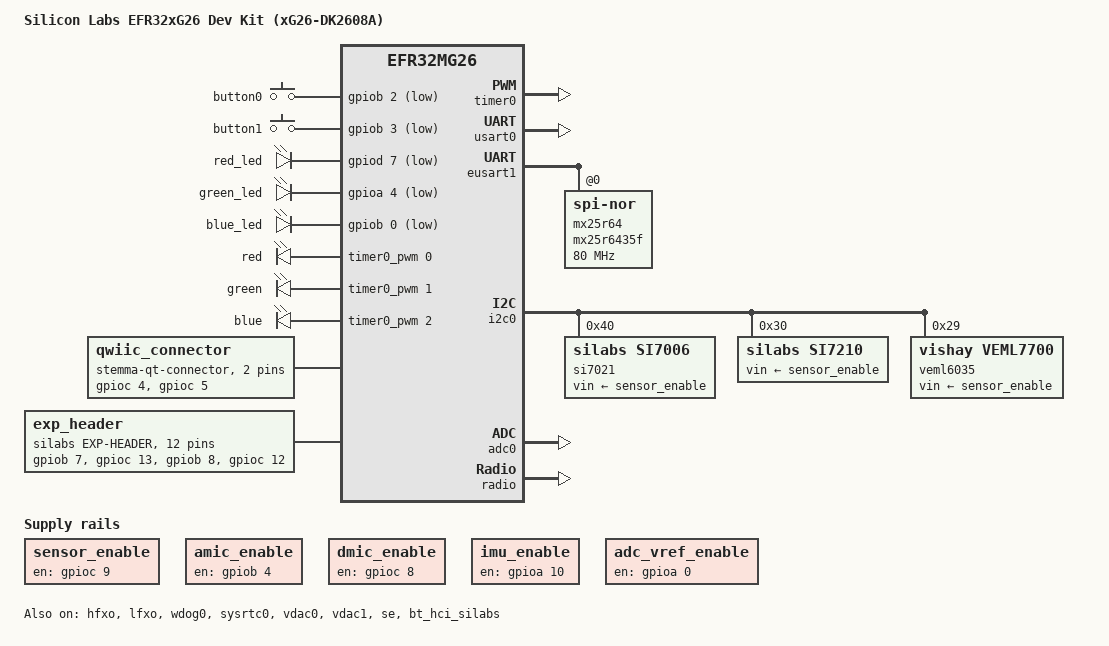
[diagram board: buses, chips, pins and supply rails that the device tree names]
/*
 * Copyright (c) 2026 Hong Nguyen
 *
 * SPDX-License-Identifier: Apache-2.0
 */

/dts-v1/;
#include <silabs/xg26/efr32mg26b510f3200im68.dtsi>
#include <silabs/xg26/clock-hfrcodpll.dtsi>
#include <silabs/xg26/clock-lfxo.dtsi>
#include <zephyr/dt-bindings/input/input-event-codes.h>
#include <zephyr/dt-bindings/pwm/pwm.h>
#include <zephyr/dt-bindings/regulator/silabs_dcdc.h>
#include "xg26_dk2608a-pinctrl.dtsi"

/ {
	model = "Silicon Labs EFR32xG26 Dev Kit (xG26-DK2608A)";
	compatible = "silabs,xg26_dk2608a", "silabs,efr32mg26";

	chosen {
		zephyr,bt-hci = &bt_hci_silabs;
		zephyr,code-partition = &slot0_partition;
		zephyr,console = &usart0;
		zephyr,flash = &flash0;
		zephyr,shell-uart = &usart0;
		zephyr,sram = &sram0;
		zephyr,uart-pipe = &usart0;
	};

	aliases {
		led0 = &red_led;
		led1 = &green_led;
		led2 = &blue_led;
		pwm-led0 = &red_pwm_led;
		pwm-led1 = &green_pwm_led;
		pwm-led2 = &blue_pwm_led;
		sw0 = &button0;
		sw1 = &button1;
		watchdog0 = &wdog0;
		dht0 = &si7021;
		light-sensor = &veml6035;
		magn0 = &si7210;
	};

	buttons {
		compatible = "gpio-keys";

		button0: button_0 {
			gpios = <&gpiob 2 GPIO_ACTIVE_LOW>;
			zephyr,code = <INPUT_KEY_0>;
		};

		button1: button_1 {
			gpios = <&gpiob 3 GPIO_ACTIVE_LOW>;
			zephyr,code = <INPUT_KEY_1>;
		};
	};

	leds {
		compatible = "gpio-leds";

		red_led: led_0 {
			gpios = <&gpiod 7 GPIO_ACTIVE_LOW>;
		};

		green_led: led_1 {
			gpios = <&gpioa 4 GPIO_ACTIVE_LOW>;
		};

		blue_led: led_2 {
			gpios = <&gpiob 0 GPIO_ACTIVE_LOW>;
		};
	};

	pwmleds {
		compatible = "pwm-leds";

		red_pwm_led: pwm_led_0 {
			pwms = <&timer0_pwm 0 PWM_MSEC(20) PWM_POLARITY_INVERTED>;
			label = "red";
		};

		green_pwm_led: pwm_led_1 {
			pwms = <&timer0_pwm 1 PWM_MSEC(20) PWM_POLARITY_INVERTED>;
			label = "green";
		};

		blue_pwm_led: pwm_led_2 {
			pwms = <&timer0_pwm 2 PWM_MSEC(20) PWM_POLARITY_INVERTED>;
			label = "blue";
		};
	};

	qwiic_connector: stemma-qt-connector {
		compatible = "stemma-qt-connector";
		#gpio-cells = <2>;
		gpio-map-mask = <0xffffffff 0>;
		gpio-map-pass-thru = <0 GPIO_DT_FLAGS_MASK>;
		gpio-map = <0 0 &gpioc 4 0>, /* SCL */
			   <1 0 &gpioc 5 0>; /* SDA */
	};

	sensor_enable: gpio_switch_0 {
		compatible = "regulator-fixed";
		regulator-boot-on;
		regulator-name = "sensor_enable";
		enable-gpios = <&gpioc 9 GPIO_ACTIVE_HIGH>;
	};

	amic_enable: gpio_switch_1 {
		compatible = "regulator-fixed";
		regulator-name = "amic_enable";
		enable-gpios = <&gpiob 4 GPIO_ACTIVE_HIGH>;
	};

	dmic_enable: gpio_switch_2 {
		compatible = "regulator-fixed";
		regulator-name = "dmic_enable";
		enable-gpios = <&gpioc 8 GPIO_ACTIVE_HIGH>;
	};

	imu_enable: gpio_switch_3 {
		compatible = "regulator-fixed";
		regulator-name = "imu_enable";
		enable-gpios = <&gpioa 10 GPIO_ACTIVE_HIGH>;
	};

	adc_vref_enable: gpio_switch_4 {
		compatible = "regulator-fixed";
		regulator-name = "adc_vref_enable";
		enable-gpios = <&gpioa 0 GPIO_ACTIVE_HIGH>;
	};

	exp_header: exp-header {
		compatible = "silabs,exp-header";
		#gpio-cells = <2>;
		gpio-map = <3 0 &gpiob 7 0>,
			   <4 0 &gpioc 13 0>,
			   <5 0 &gpiob 8 0>,
			   <6 0 &gpioc 12 0>,
			   <8 0 &gpioc 11 0>,
			   <10 0 &gpioc 10 0>,
			   <11 0 &gpiod 8 0>,
			   <12 0 &gpiob 5 0>,
			   <13 0 &gpiod 9 0>,
			   <14 0 &gpiob 6 0>,
			   <15 0 &gpioc 4 0>,
			   <16 0 &gpioc 5 0>;
		gpio-map-mask = <0xffffffff 0x0>;
		gpio-map-pass-thru = <0x0 GPIO_DT_FLAGS_MASK>;
	};
};

&timer0 {
	status = "okay";

	timer0_pwm: pwm {
		pinctrl-0 = <&timer0_default>;
		pinctrl-names = "default";
		status = "okay";
	};
};

&itm {
	pinctrl-0 = <&itm_default>;
	pinctrl-names = "default";
};

&dcdc {
	regulator-boot-on;
	regulator-initial-mode = <SILABS_DCDC_MODE_BUCK>;
	silabs,pfmx-peak-current-milliamp = <120>;
	status = "okay";
};

&hfxo {
	ctune = <140>;
	precision = <50>;
	status = "okay";
};

&lfxo {
	ctune = <63>;
	precision = <50>;
	status = "okay";
};

&usart0 {
	pinctrl-0 = <&usart0_default>;
	pinctrl-names = "default";
	status = "okay";
};

&usart1 {
	pinctrl-0 = <&usart1_default>;
	pinctrl-names = "default";
	status = "disabled";
};

&eusart1 {
	compatible = "silabs,eusart-spi";
	#address-cells = <1>;
	#size-cells = <0>;

	cs-gpios = <&gpioa 7 GPIO_ACTIVE_LOW>;
	pinctrl-0 = <&eusart1_default>;
	pinctrl-names = "default";
	status = "okay";

	mx25r64: mx25r6435f@0 {
		compatible = "jedec,spi-nor";
		reg = <0>;
		dpd-wakeup-sequence = <30000 20 35000>;
		has-dpd;
		jedec-id = [c2 28 17];
		size = <0x4000000>;
		spi-max-frequency = <80000000>;
	};
};

&i2c0 {
	pinctrl-0 = <&i2c0_default>;
	pinctrl-names = "default";
	status = "okay";

	si7021: si7021@40 {
		compatible = "silabs,si7006";
		reg = <0x40>;
		vin-supply = <&sensor_enable>;
	};

	si7210: si7210@30 {
		compatible = "silabs,si7210";
		reg = <0x30>;
		vin-supply = <&sensor_enable>;
	};

	veml6035: veml6035@29 {
		compatible = "vishay,veml7700";
		reg = <0x29>;
		vin-supply = <&sensor_enable>;
	};
};

&wdog0 {
	status = "okay";
};

&gpio {
	status = "okay";
};

&gpioa {
	status = "okay";
};

&gpiob {
	status = "okay";
};

&gpioc {
	status = "okay";
};

&gpiod {
	status = "okay";
};

&sysrtc0 {
	status = "okay";
};

&vdac0 {
	status = "okay";
};

&vdac1 {
	status = "okay";
};

&se {
	status = "okay";
};

&adc0 {
	status = "okay";
};

&bt_hci_silabs {
	status = "okay";
};

&radio {
	pa-voltage-mv = <1800>;
};

&flash0 {
	partitions {
		ranges;
		#address-cells = <1>;
		#size-cells = <1>;

		/* Reserve 48 KiB for the bootloader */
		boot_partition: partition@0 {
			compatible = "zephyr,mapped-partition";
			reg = <0x00000000 DT_SIZE_K(48)>;
			label = "mcuboot";
			read-only;
		};

		/* Reserve 1560 KiB for the application in slot 0 */
		slot0_partition: partition@c000 {
			compatible = "zephyr,mapped-partition";
			reg = <0x0000c000 DT_SIZE_K(1560)>;
			label = "image-0";
		};

		/* Reserve 1560 KiB for the application in slot 1 */
		slot1_partition: partition@192000 {
			compatible = "zephyr,mapped-partition";
			reg = <0x00192000 DT_SIZE_K(1560)>;
			label = "image-1";
		};

		/* Set 32 KiB of storage at the end of the 3200 KiB of flash */
		storage_partition: partition@318000 {
			compatible = "zephyr,mapped-partition";
			reg = <0x00318000 DT_SIZE_K(32)>;
			label = "storage";
		};
	};
};
